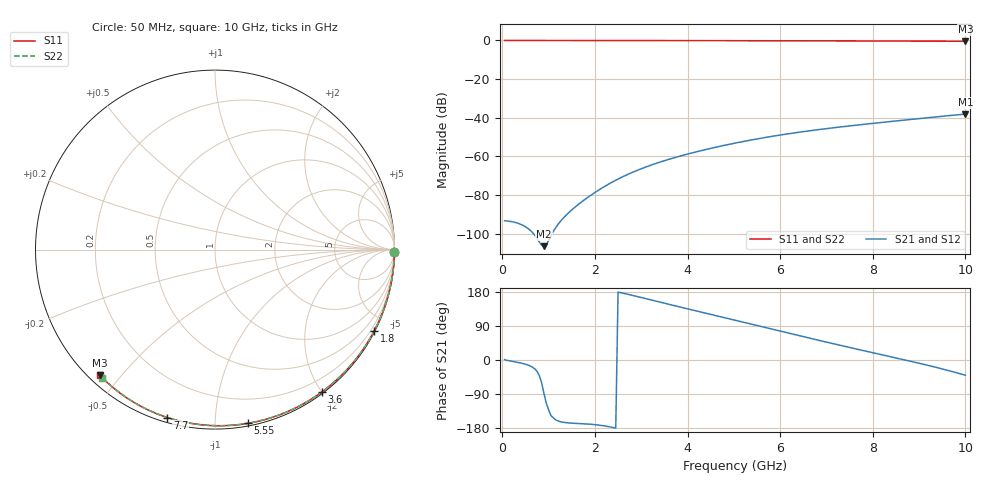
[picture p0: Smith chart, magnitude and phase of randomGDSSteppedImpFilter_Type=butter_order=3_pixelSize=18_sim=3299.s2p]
! freq	dB(S11)	phase(S11)	dB(S12)	phase(S12)
!  dB(S21)	phase(S21)	dB(S22)	phase(S22)
!S-par simulation data
#  GHz  S  DB  R 50
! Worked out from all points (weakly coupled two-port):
!   200 points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, 50 MHz to 10 GHz, reference 50 ohm
!   highest |S21| = -38.10 dB at 10 GHz (marker M1); lowest = -106.4 dB at 900 MHz (marker M2)
!   lowest |S11| = -0.5 dB at 10 GHz (marker M3), VSWR 38.47, Z = 1.55 - j22 ohm
!   |S11| at or under -10 dB: nowhere
!   |S22| runs from -0.4 to 0.0 dB; largest |S21 - S12| = 0
!   S11 on the Smith chart (normalised r, x): 50 MHz: open; 1.8 GHz: 0.04, -4.14; 3.6 GHz: 0.02, -2.00; 5.55 GHz: 0.02, -1.21; 7.7 GHz: 0.02, -0.76; 10 GHz: 0.03, -0.44
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0.05  -0.00 -0.8  -93.29 1.0  -93.29 1.0  -0.00 -0.8
0.45  -0.00 -6.9  -95.71 -9.4  -95.71 -9.4  -0.01 -6.8
0.9  -0.01 -13.7  -106.42 -88.5  -106.42 -88.5  -0.02 -13.6
1.75  -0.03 -26.4  -82.84 -168.1  -82.84 -168.1  -0.03 -26.2
1.8  -0.03 -27.1  -81.95 -168.5  -81.95 -168.5  -0.03 -26.9
1.9  -0.04 -28.6  -80.26 -169.4  -80.26 -169.4  -0.04 -28.4
1.95  -0.04 -29.4  -79.45 -170.0  -79.45 -170.0  -0.04 -29.1
2.15  -0.04 -32.3  -76.36 -172.9  -76.36 -172.9  -0.04 -32.1
2.35  -0.05 -35.2  -73.58 -177.1  -73.58 -177.1  -0.04 -35.0
2.65  -0.05 -39.6  -69.93 175.2  -69.93 175.2  -0.05 -39.3
3  -0.06 -44.6  -66.36 164.9  -66.36 164.9  -0.06 -44.3
3.4  -0.07 -50.3  -62.96 152.9  -62.96 152.9  -0.07 -49.9
3.6  -0.07 -53.1  -61.46 146.8  -61.46 146.8  -0.07 -52.7
4.3  -0.09 -62.7  -56.96 126.2  -56.96 126.2  -0.09 -62.2
5.05  -0.11 -72.8  -52.99 104.3  -52.99 104.3  -0.11 -72.2
5.55  -0.13 -79.3  -50.73 89.6  -50.73 89.6  -0.13 -78.7
6.1  -0.15 -86.3  -48.55 73.3  -48.55 73.3  -0.15 -85.6
6.7  -0.18 -93.8  -46.51 55.8  -46.51 55.8  -0.18 -93.1
7.7  -0.24 -105.9  -43.67 27.6  -43.67 27.6  -0.24 -105.1
8.35  -0.29 -113.5  -42.02 9.8  -42.02 9.8  -0.29 -112.6
9.15  -0.36 -122.8  -40.04 -12.8  -40.04 -12.8  -0.36 -121.8
10  -0.45 -132.5  -38.10 -40.2  -38.10 -40.2  -0.44 -131.4
